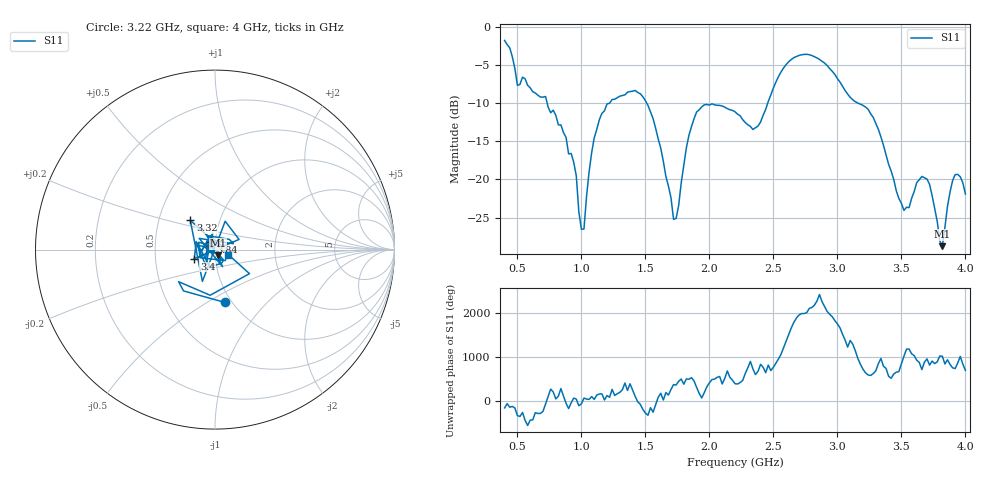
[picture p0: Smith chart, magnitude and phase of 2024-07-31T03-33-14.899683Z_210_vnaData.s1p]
!Created with skrf (http://scikit-rf.org).
# Hz S RI R 50.0
!freq ReS11 ImS11
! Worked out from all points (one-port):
!   181 points, 400 MHz to 4 GHz, reference 50 ohm
!   lowest |S11| = -28.8 dB at 3.82 GHz (marker M1), VSWR 1.08, Z = 51.6 - j3.33 ohm
!   |S11| at or under -10 dB: 733.1 MHz to 1.215 GHz (481.7 MHz wide, 49.5 % of centre); 1.512 GHz to 2.455 GHz (943.4 MHz wide, 47.6 % of centre); 3.166 GHz to end of sweep
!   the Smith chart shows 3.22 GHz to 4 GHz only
!   S11 on the Smith chart (normalised r, x): 3.22 GHz: 0.93, -0.60; 3.32 GHz: 0.72, +0.25; 3.4 GHz: 0.79, -0.08; 3.84 GHz: 0.95, +0.08; 4 GHz: 1.16, -0.07
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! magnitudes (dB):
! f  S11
! 400 MHz  -1.7
! 500 MHz  -7.6
! 720 MHz  -9.1
! 860 MHz  -13.8
! 940 MHz  -17.7
! 1 GHz  -26.5
! 1.02 GHz  -26.5
! 1.1 GHz  -14.5
! 1.3 GHz  -9.0
! 1.52 GHz  -10.3
! 1.72 GHz  -25.2
! 1.76 GHz  -23.4
! 1.82 GHz  -15.8
! 1.9 GHz  -11.1
! 2.2 GHz  -11.1
! 2.38 GHz  -13.0
! 2.66 GHz  -4.0
! 2.86 GHz  -4.2
! 3.1 GHz  -9.2
! 3.22 GHz  -10.5
! 3.32 GHz  -13.4
! 3.4 GHz  -18.0
! 3.56 GHz  -23.7
! 3.7 GHz  -19.9
! 3.82 GHz  -28.8
! 3.84 GHz  -26.3
! 3.92 GHz  -19.4
! 4 GHz  -21.9
